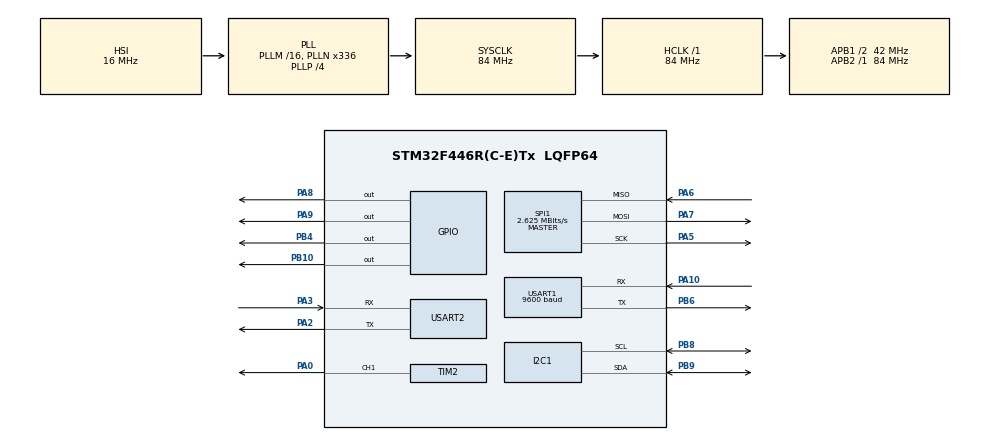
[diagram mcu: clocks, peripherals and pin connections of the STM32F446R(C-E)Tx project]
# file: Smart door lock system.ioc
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Mcu.Family=STM32F4
Mcu.Name=STM32F446R(C-E)Tx
Mcu.Package=LQFP64
NVIC.PriorityGroup=NVIC_PRIORITYGROUP_0
NVIC.USART1_IRQn=true\:0\:0\:false\:false\:true\:true\:true\:true
PA0-WKUP.Signal=S_TIM2_CH1_ETR
PA10.Mode=Asynchronous
PA10.Signal=USART1_RX
PA13.Mode=Serial_Wire
PA13.Signal=SYS_JTMS-SWDIO
PA14.Mode=Serial_Wire
PA14.Signal=SYS_JTCK-SWCLK
PA2.Mode=Asynchronous
PA2.Signal=USART2_TX
PA3.Mode=Asynchronous
PA3.Signal=USART2_RX
PA5.Mode=Full_Duplex_Master
PA5.Signal=SPI1_SCK
PA6.Mode=Full_Duplex_Master
PA6.Signal=SPI1_MISO
PA7.Mode=Full_Duplex_Master
PA7.Signal=SPI1_MOSI
PA8.Signal=GPIO_Output
PA9.Signal=GPIO_Output
PB10.Signal=GPIO_Output
PB4.Signal=GPIO_Output
PB6.Mode=Asynchronous
PB6.Signal=USART1_TX
PB8.Mode=I2C
PB8.Signal=I2C1_SCL
PB9.Mode=I2C
PB9.Signal=I2C1_SDA
PC14-OSC32_IN.Mode=LSE-External-Oscillator
PC14-OSC32_IN.Signal=RCC_OSC32_IN
PC15-OSC32_OUT.Mode=LSE-External-Oscillator
PC15-OSC32_OUT.Signal=RCC_OSC32_OUT
PH0-OSC_IN.Mode=HSE-External-Oscillator
PH0-OSC_IN.Signal=RCC_OSC_IN
PH1-OSC_OUT.Mode=HSE-External-Oscillator
PH1-OSC_OUT.Signal=RCC_OSC_OUT
ProjectManager.HeapSize=0x200
ProjectManager.StackSize=0x400
ProjectManager.TargetToolchain=STM32CubeIDE
RCC.48MHZClocksFreq_Value=84000000
RCC.AHBFreq_Value=84000000
RCC.APB1CLKDivider=RCC_HCLK_DIV2
RCC.APB1Freq_Value=42000000
RCC.APB1TimFreq_Value=84000000
RCC.APB2Freq_Value=84000000
RCC.APB2TimFreq_Value=84000000
RCC.CortexFreq_Value=84000000
RCC.FLatency-AdvancedSettings=FLASH_LATENCY_2
RCC.HCLKFreq_Value=84000000
RCC.HSE_VALUE=8000000
RCC.HSI_VALUE=16000000
RCC.PLLN=336
RCC.PLLP=RCC_PLLP_DIV4
RCC.SYSCLKFreq_VALUE=84000000
RCC.SYSCLKSource=RCC_SYSCLKSOURCE_PLLCLK
RCC.USBFreq_Value=168000000
RCC.VCOOutputFreq_Value=336000000
SH.S_TIM2_CH1_ETR.0=TIM2_CH1,PWM Generation1 CH1
SPI1.BaudRatePrescaler=SPI_BAUDRATEPRESCALER_32
SPI1.CalculateBaudRate=2.625 MBits/s
SPI1.Direction=SPI_DIRECTION_2LINES
SPI1.Mode=SPI_MODE_MASTER
SPI1.VirtualType=VM_MASTER
TIM2.Channel-PWM\ Generation1\ CH1=TIM_CHANNEL_1
TIM2.Period=8400-1
TIM2.Prescaler=200-1
USART1.BaudRate=9600
USART1.VirtualMode=VM_ASYNC
USART2.VirtualMode=VM_ASYNC
VP_TIM2_VS_ClockSourceINT.Mode=Internal
board=NUCLEO-F446RE

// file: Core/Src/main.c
/* USER CODE BEGIN Header */
/**
 ******************************************************************************
 * @file           : main.c
 * @brief          : Main program body
 ******************************************************************************
 * @attention
 *
 * Copyright (c) 2026 STMicroelectronics.
 * All rights reserved.
 *
 * This software is licensed under terms that can be found in the LICENSE file
 * in the root directory of this software component.
 * If no LICENSE file comes with this software, it is provided AS-IS.
 *
 ******************************************************************************
 */
/* USER CODE END Header */
#include "main.h"

/* USER CODE BEGIN Includes */
#include "string.h"
#include "stdio.h"
#include "stm32f4xx_hal.h"
#include "RC522.h"
#include "liquidcrystal_i2c.h"
/* USER CODE END Includes */

I2C_HandleTypeDef hi2c1;

SPI_HandleTypeDef hspi1;

TIM_HandleTypeDef htim2;

UART_HandleTypeDef huart1;
UART_HandleTypeDef huart2;

/* USER CODE BEGIN PV */
uint8_t status;
uint8_t str[16];
uint8_t sNum[5];
uint8_t rxData;
/* USER CODE END PV */

void SystemClock_Config(void);
static void MX_GPIO_Init(void);
static void MX_I2C1_Init(void);
static void MX_SPI1_Init(void);
static void MX_TIM2_Init(void);
static void MX_USART1_UART_Init(void);
static void MX_USART2_UART_Init(void);

int main(void)
{

  /* MCU Configuration--------------------------------------------------------*/

  /* Reset of all peripherals, Initializes the Flash interface and the Systick. */
  HAL_Init();

  /* Configure the system clock */
  SystemClock_Config();

  /* Initialize all configured peripherals */
  MX_GPIO_Init();
  MX_I2C1_Init();
  MX_SPI1_Init();
  MX_TIM2_Init();
  MX_USART1_UART_Init();
  MX_USART2_UART_Init();
  /* USER CODE BEGIN 2 */
	MFRC522_Init();
	HAL_TIM_PWM_Start(&htim2, TIM_CHANNEL_1);
	HD44780_Init(2);
	//HAL_Delay(100);
	HD44780_Clear();
	HD44780_Backlight();
	HD44780_SetCursor(2, 0);
	HD44780_PrintStr("Tap the Card");
	HD44780_SetCursor(0,1);
	HD44780_PrintStr("to open the door");
	HAL_UART_Receive_IT(&huart1,&rxData,1);
  /* USER CODE END 2 */

  /* Infinite loop */
	while (1) {

    /* USER CODE BEGIN 3 */
		status = MFRC522_Request(PICC_REQIDL, str);
		status = MFRC522_Anticoll(str);
		memcpy(sNum, str, 5);
		HAL_Delay(200);
		if ((str[0] == 211) && (str[1] == 32) && (str[2] == 13)
				&& (str[3] == 228) && (str[4] == 150)) {
			HAL_GPIO_WritePin(GPIOB ,GPIO_PIN_4, 1);
			__HAL_TIM_SET_COMPARE(&htim2,TIM_CHANNEL_1,1050);
			HD44780_Clear();
			//HD44780_Backlight();
			HD44780_SetCursor(5, 0);
			HD44780_PrintStr("ACCESS");
			HD44780_SetCursor(4, 1);
			HD44780_PrintStr("APPROVED");
			memset(str,0,16);
		}

		else if ((str[0] == 20) && (str[1] == 32) && (str[2] == 183)
				&& (str[3] == 167) && (str[4] == 32)) {
			HAL_GPIO_WritePin(GPIOB, GPIO_PIN_4, 0);
			__HAL_TIM_SET_COMPARE(&htim2,TIM_CHANNEL_1,210);
			HD44780_Clear();
			//HD44780_Backlight();
			HD44780_SetCursor(5, 0);
			HD44780_PrintStr("ACCESS");
			HD44780_SetCursor(4, 1);
			HD44780_PrintStr("DENIED !");
			memset(str,0,16);
		}
	}
  /* USER CODE END 3 */
}

void SystemClock_Config(void)
{
  RCC_OscInitTypeDef RCC_OscInitStruct = {0};
  RCC_ClkInitTypeDef RCC_ClkInitStruct = {0};

  /** Configure the main internal regulator output voltage
  */
  __HAL_RCC_PWR_CLK_ENABLE();
  __HAL_PWR_VOLTAGESCALING_CONFIG(PWR_REGULATOR_VOLTAGE_SCALE3);

  /** Initializes the RCC Oscillators according to the specified parameters
  * in the RCC_OscInitTypeDef structure.
  */
  RCC_OscInitStruct.OscillatorType = RCC_OSCILLATORTYPE_HSI;
  RCC_OscInitStruct.HSIState = RCC_HSI_ON;
  RCC_OscInitStruct.HSICalibrationValue = RCC_HSICALIBRATION_DEFAULT;
  RCC_OscInitStruct.PLL.PLLState = RCC_PLL_ON;
  RCC_OscInitStruct.PLL.PLLSource = RCC_PLLSOURCE_HSI;
  RCC_OscInitStruct.PLL.PLLM = 16;
  RCC_OscInitStruct.PLL.PLLN = 336;
  RCC_OscInitStruct.PLL.PLLP = RCC_PLLP_DIV4;
  RCC_OscInitStruct.PLL.PLLQ = 2;
  RCC_OscInitStruct.PLL.PLLR = 2;
  if (HAL_RCC_OscConfig(&RCC_OscInitStruct) != HAL_OK)
  {
    Error_Handler();
  }

  /** Initializes the CPU, AHB and APB buses clocks
  */
  RCC_ClkInitStruct.ClockType = RCC_CLOCKTYPE_HCLK|RCC_CLOCKTYPE_SYSCLK
                              |RCC_CLOCKTYPE_PCLK1|RCC_CLOCKTYPE_PCLK2;
  RCC_ClkInitStruct.SYSCLKSource = RCC_SYSCLKSOURCE_PLLCLK;
  RCC_ClkInitStruct.AHBCLKDivider = RCC_SYSCLK_DIV1;
  RCC_ClkInitStruct.APB1CLKDivider = RCC_HCLK_DIV2;
  RCC_ClkInitStruct.APB2CLKDivider = RCC_HCLK_DIV1;

  if (HAL_RCC_ClockConfig(&RCC_ClkInitStruct, FLASH_LATENCY_2) != HAL_OK)
  {
    Error_Handler();
  }
}

static void MX_I2C1_Init(void)
{

  hi2c1.Instance = I2C1;
  hi2c1.Init.ClockSpeed = 100000;
  hi2c1.Init.DutyCycle = I2C_DUTYCYCLE_2;
  hi2c1.Init.OwnAddress1 = 0;
  hi2c1.Init.AddressingMode = I2C_ADDRESSINGMODE_7BIT;
  hi2c1.Init.DualAddressMode = I2C_DUALADDRESS_DISABLE;
  hi2c1.Init.OwnAddress2 = 0;
  hi2c1.Init.GeneralCallMode = I2C_GENERALCALL_DISABLE;
  hi2c1.Init.NoStretchMode = I2C_NOSTRETCH_DISABLE;
  if (HAL_I2C_Init(&hi2c1) != HAL_OK)
  {
    Error_Handler();
  }

}

static void MX_SPI1_Init(void)
{

  /* SPI1 parameter configuration*/
  hspi1.Instance = SPI1;
  hspi1.Init.Mode = SPI_MODE_MASTER;
  hspi1.Init.Direction = SPI_DIRECTION_2LINES;
  hspi1.Init.DataSize = SPI_DATASIZE_8BIT;
  hspi1.Init.CLKPolarity = SPI_POLARITY_LOW;
  hspi1.Init.CLKPhase = SPI_PHASE_1EDGE;
  hspi1.Init.NSS = SPI_NSS_SOFT;
  hspi1.Init.BaudRatePrescaler = SPI_BAUDRATEPRESCALER_32;
  hspi1.Init.FirstBit = SPI_FIRSTBIT_MSB;
  hspi1.Init.TIMode = SPI_TIMODE_DISABLE;
  hspi1.Init.CRCCalculation = SPI_CRCCALCULATION_DISABLE;
  hspi1.Init.CRCPolynomial = 10;
  if (HAL_SPI_Init(&hspi1) != HAL_OK)
  {
    Error_Handler();
  }

}

static void MX_TIM2_Init(void)
{

  TIM_ClockConfigTypeDef sClockSourceConfig = {0};
  TIM_MasterConfigTypeDef sMasterConfig = {0};
  TIM_OC_InitTypeDef sConfigOC = {0};

  htim2.Instance = TIM2;
  htim2.Init.Prescaler = 200-1;
  htim2.Init.CounterMode = TIM_COUNTERMODE_UP;
  htim2.Init.Period = 8400-1;
  htim2.Init.ClockDivision = TIM_CLOCKDIVISION_DIV1;
  htim2.Init.AutoReloadPreload = TIM_AUTORELOAD_PRELOAD_DISABLE;
  if (HAL_TIM_Base_Init(&htim2) != HAL_OK)
  {
    Error_Handler();
  }
  sClockSourceConfig.ClockSource = TIM_CLOCKSOURCE_INTERNAL;
  if (HAL_TIM_ConfigClockSource(&htim2, &sClockSourceConfig) != HAL_OK)
  {
    Error_Handler();
  }
  if (HAL_TIM_PWM_Init(&htim2) != HAL_OK)
  {
    Error_Handler();
  }
  sMasterConfig.MasterOutputTrigger = TIM_TRGO_RESET;
  sMasterConfig.MasterSlaveMode = TIM_MASTERSLAVEMODE_DISABLE;
  if (HAL_TIMEx_MasterConfigSynchronization(&htim2, &sMasterConfig) != HAL_OK)
  {
    Error_Handler();
  }
  sConfigOC.OCMode = TIM_OCMODE_PWM1;
  sConfigOC.Pulse = 0;
  sConfigOC.OCPolarity = TIM_OCPOLARITY_HIGH;
  sConfigOC.OCFastMode = TIM_OCFAST_DISABLE;
  if (HAL_TIM_PWM_ConfigChannel(&htim2, &sConfigOC, TIM_CHANNEL_1) != HAL_OK)
  {
    Error_Handler();
  }
  HAL_TIM_MspPostInit(&htim2);

}

static void MX_USART1_UART_Init(void)
{

  huart1.Instance = USART1;
  huart1.Init.BaudRate = 9600;
  huart1.Init.WordLength = UART_WORDLENGTH_8B;
  huart1.Init.StopBits = UART_STOPBITS_1;
  huart1.Init.Parity = UART_PARITY_NONE;
  huart1.Init.Mode = UART_MODE_TX_RX;
  huart1.Init.HwFlowCtl = UART_HWCONTROL_NONE;
  huart1.Init.OverSampling = UART_OVERSAMPLING_16;
  if (HAL_UART_Init(&huart1) != HAL_OK)
  {
    Error_Handler();
  }

}

static void MX_USART2_UART_Init(void)
{

  huart2.Instance = USART2;
  huart2.Init.BaudRate = 115200;
  huart2.Init.WordLength = UART_WORDLENGTH_8B;
  huart2.Init.StopBits = UART_STOPBITS_1;
  huart2.Init.Parity = UART_PARITY_NONE;
  huart2.Init.Mode = UART_MODE_TX_RX;
  huart2.Init.HwFlowCtl = UART_HWCONTROL_NONE;
  huart2.Init.OverSampling = UART_OVERSAMPLING_16;
  if (HAL_UART_Init(&huart2) != HAL_OK)
  {
    Error_Handler();
  }

}

static void MX_GPIO_Init(void)
{
  GPIO_InitTypeDef GPIO_InitStruct = {0};

  /* GPIO Ports Clock Enable */
  __HAL_RCC_GPIOC_CLK_ENABLE();
  __HAL_RCC_GPIOH_CLK_ENABLE();
  __HAL_RCC_GPIOA_CLK_ENABLE();
  __HAL_RCC_GPIOB_CLK_ENABLE();

  /*Configure GPIO pin Output Level */
  HAL_GPIO_WritePin(GPIOB, GPIO_PIN_10|GPIO_PIN_4, GPIO_PIN_RESET);

  /*Configure GPIO pin Output Level */
  HAL_GPIO_WritePin(GPIOA, GPIO_PIN_8|GPIO_PIN_9, GPIO_PIN_RESET);

  /*Configure GPIO pins : PB10 PB4 */
  GPIO_InitStruct.Pin = GPIO_PIN_10|GPIO_PIN_4;
  GPIO_InitStruct.Mode = GPIO_MODE_OUTPUT_PP;
  GPIO_InitStruct.Pull = GPIO_NOPULL;
  GPIO_InitStruct.Speed = GPIO_SPEED_FREQ_LOW;
  HAL_GPIO_Init(GPIOB, &GPIO_InitStruct);

  /*Configure GPIO pins : PA8 PA9 */
  GPIO_InitStruct.Pin = GPIO_PIN_8|GPIO_PIN_9;
  GPIO_InitStruct.Mode = GPIO_MODE_OUTPUT_PP;
  GPIO_InitStruct.Pull = GPIO_NOPULL;
  GPIO_InitStruct.Speed = GPIO_SPEED_FREQ_LOW;
  HAL_GPIO_Init(GPIOA, &GPIO_InitStruct);

}

/* USER CODE BEGIN 4 */
void HAL_UART_RxCpltCallback(UART_HandleTypeDef *huart)
{
  if(huart->Instance==USART1)
  {
    if(rxData==78) // Ascii value of 'N' is 78 (N for NO)
    {
			HAL_GPIO_WritePin(GPIOB, GPIO_PIN_4, 0);
			__HAL_TIM_SET_COMPARE(&htim2, TIM_CHANNEL_1, 210);
			HD44780_Clear();
			//HD44780_Backlight();
			HD44780_SetCursor(5, 0);
			HD44780_PrintStr("ACCESS");
			HD44780_SetCursor(4, 1);
			HD44780_PrintStr("DENIED !");
    }
    else if (rxData==89) // Ascii value of 'Y' is 89 (Y for YES)
    {
			HAL_GPIO_WritePin(GPIOB, GPIO_PIN_4, 1);
			__HAL_TIM_SET_COMPARE(&htim2, TIM_CHANNEL_1, 1050);
			HD44780_Clear();
			//HD44780_Backlight();
			HD44780_SetCursor(5, 0);
			HD44780_PrintStr("ACCESS");
			HD44780_SetCursor(4, 1);
			HD44780_PrintStr("APPROVED");
    }
    HAL_UART_Receive_IT(&huart1,&rxData,1); // Enabling interrupt receive again
  }
}
/* USER CODE END 4 */

void Error_Handler(void)
{
	__disable_irq();
	while (1) {
	}
}
